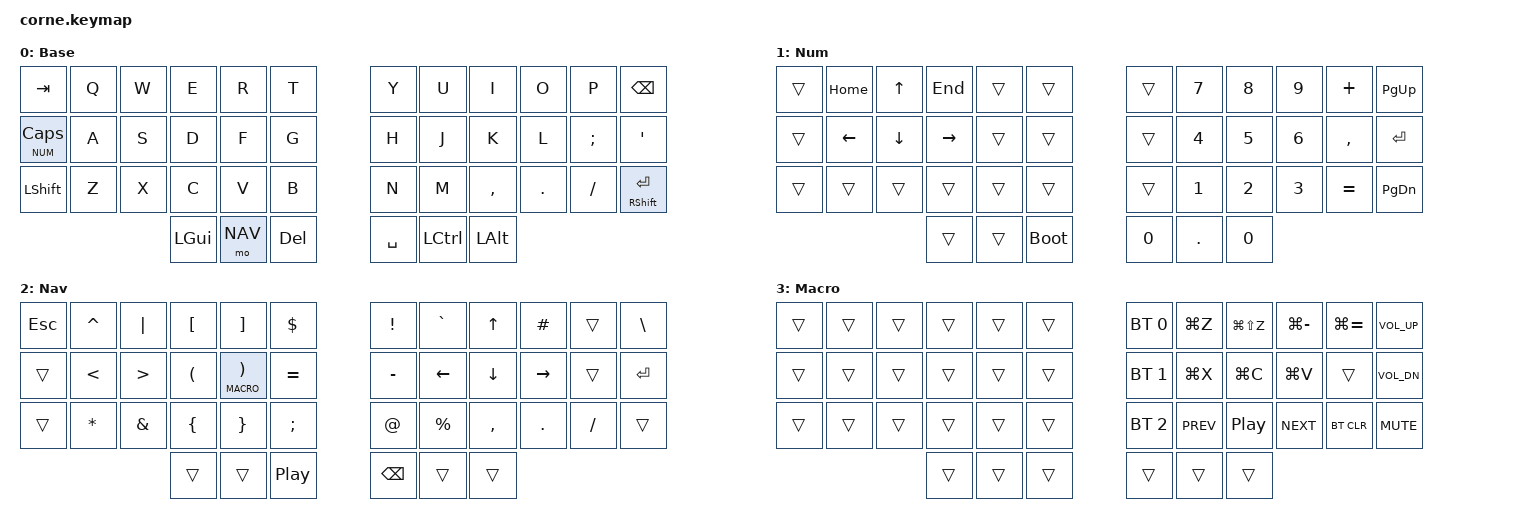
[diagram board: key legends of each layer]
/*
 * tgavent Corne keymap: ported from the RGBKB Sol 3 QMK keymap
 * (qmk_firmware/keyboards/rgbkb/sol3/keymaps/tgavent). Mac-only for now.
 *
 * Layers:
 *   BASE   QWERTY
 *   NUM    = Sol 3 "FN" layer:     hold the far-left home-row key (tap = Caps Lock)
 *   NAV    = Sol 3 "ADJUST" layer: hold the left middle thumb (symbols + arrows)
 *   MACRO  = Cmd shortcuts, media, Bluetooth:
 *            hold the left middle thumb (NAV), then hold the F position (")" on NAV)
 *
 * Key positions (for hold-trigger-key-positions):
 *    0  1  2  3  4  5     6  7  8  9 10 11
 *   12 13 14 15 16 17    18 19 20 21 22 23
 *   24 25 26 27 28 29    30 31 32 33 34 35
 *            36 37 38    39 40 41
 */

#include <behaviors.dtsi>
#include <dt-bindings/zmk/keys.h>
#include <dt-bindings/zmk/bt.h>

#define BASE  0
#define NUM   1
#define NAV   2
#define MACRO 3

// Mac shortcuts (the Sol 3 sent these as OS-aware macros; the Corne is Mac-only)
#define CUT     &kp LG(X)
#define COPY    &kp LG(C)
#define PASTE   &kp LG(V)
#define UNDO    &kp LG(Z)
#define REDO    &kp LG(LS(Z))
#define ZOOM_IN &kp LG(EQUAL)
#define ZOOM_OUT &kp LG(MINUS)

/ {
    behaviors {
        // On NAV, the F position: tap = ")", hold = MACRO layer.
        // Tuned so typing symbols never triggers the layer by accident:
        //  - require-prior-idle-ms: if a key was pressed in the last 150ms
        //    (e.g. typing "()" quickly), it's always ")".
        //  - balanced + hold-trigger-key-positions: the layer only activates
        //    when the next key is on the right hand (where everything on MACRO is)
        //    or a thumb.
        rpar_macro: rpar_macro_layer_tap {
            compatible = "zmk,behavior-hold-tap";
            display-name = ") / Macro layer";
            #binding-cells = <2>;
            flavor = "balanced";
            tapping-term-ms = <200>;
            quick-tap-ms = <175>;
            require-prior-idle-ms = <150>;
            hold-trigger-key-positions = <6 7 8 9 10 11 18 19 20 21 22 23 30 31 32 33 34 35 36 37 38 39 40 41>;
            bindings = <&mo>, <&kp>;
        };
    };

    keymap {
        compatible = "zmk,keymap";

        base_layer {
            display-name = "Base";
// ┌──────┬─────┬─────┬─────┬─────┬─────┐   ┌─────┬─────┬─────┬─────┬─────┬──────┐
// │ Tab  │  Q  │  W  │  E  │  R  │  T  │   │  Y  │  U  │  I  │  O  │  P  │ BkSp │
// │NUM/Cp│  A  │  S  │  D  │  F  │  G  │   │  H  │  J  │  K  │  L  │  ;  │  '   │
// │Shift │  Z  │  X  │  C  │  V  │  B  │   │  N  │  M  │  ,  │  .  │  /  │Ent/Sh│
// └──────┴─────┴─────┼─────┼─────┼─────┤   ├─────┼─────┼─────┼─────┴─────┴──────┘
//                    │ Cmd │ NAV │ Del │   │Space│Ctrl │ Opt │
//                    └─────┴─────┴─────┘   └─────┴─────┴─────┘
            bindings = <
   &kp TAB       &kp Q &kp W &kp E &kp R &kp T     &kp Y &kp U &kp I     &kp O   &kp P    &kp BSPC
   &lt NUM CAPS  &kp A &kp S &kp D &kp F &kp G     &kp H &kp J &kp K     &kp L   &kp SEMI &kp SQT
   &kp LSHFT     &kp Z &kp X &kp C &kp V &kp B     &kp N &kp M &kp COMMA &kp DOT &kp FSLH &mt RSHFT RET
                         &kp LGUI  &mo NAV  &kp DEL           &kp SPACE &kp LCTRL &kp LALT
            >;
        };

        num_layer {
            display-name = "Num";
// Sol 3 FN layer: nav on the left, numpad on the right.
// ┌──────┬─────┬─────┬─────┬─────┬─────┐   ┌─────┬─────┬─────┬─────┬─────┬──────┐
// │      │Home │ Up  │ End │     │     │   │     │  7  │  8  │  9  │  +  │ PgUp │
// │(held)│Left │Down │Right│     │     │   │     │  4  │  5  │  6  │  ,  │Enter │
// │      │     │     │     │     │     │   │     │  1  │  2  │  3  │  =  │ PgDn │
// └──────┴─────┴─────┼─────┼─────┼─────┤   ├─────┼─────┼─────┼─────┴─────┴──────┘
//                    │     │     │BOOT │   │  0  │  .  │  0  │
//                    └─────┴─────┴─────┘   └─────┴─────┴─────┘
            bindings = <
   &trans  &kp HOME  &kp UP    &kp END    &trans  &trans     &trans &kp N7 &kp N8 &kp N9 &kp PLUS  &kp PG_UP
   &trans  &kp LEFT  &kp DOWN  &kp RIGHT  &trans  &trans     &trans &kp N4 &kp N5 &kp N6 &kp COMMA &kp RET
   &trans  &trans    &trans    &trans     &trans  &trans     &trans &kp N1 &kp N2 &kp N3 &kp EQUAL &kp PG_DN
                                &trans  &trans  &bootloader             &kp N0 &kp DOT &kp N0
            >;
        };

        nav_layer {
            display-name = "Nav";
// Sol 3 ADJUST layer: programmer symbols on the left, arrows on the right.
// ")" (F position): tap = ")", hold = MACRO layer.
// ┌──────┬─────┬─────┬─────┬─────┬─────┐   ┌─────┬─────┬─────┬─────┬─────┬──────┐
// │ Esc  │  ^  │  |  │  [  │  ]  │  $  │   │  !  │  `  │ Up  │  #  │     │  \   │
// │      │  <  │  >  │  (  │)/MAC│  =  │   │  -  │Left │Down │Right│     │Enter │
// │      │  *  │  &  │  {  │  }  │  ;  │   │  @  │  %  │  ,  │  .  │  /  │      │
// └──────┴─────┴─────┼─────┼─────┼─────┤   ├─────┼─────┼─────┼─────┴─────┴──────┘
//                    │     │(held│Play │   │BkSp │Ctrl │ Opt │
//                    └─────┴─────┴─────┘   └─────┴─────┴─────┘
            bindings = <
   &kp ESC &kp CARET &kp PIPE &kp LBKT &kp RBKT              &kp DLLR     &kp EXCL  &kp GRAVE &kp UP    &kp HASH  &trans   &kp BSLH
   &trans  &kp LT    &kp GT   &kp LPAR &rpar_macro MACRO RPAR &kp EQUAL   &kp MINUS &kp LEFT  &kp DOWN  &kp RIGHT &trans   &kp RET
   &trans  &kp STAR  &kp AMPS &kp LBRC &kp RBRC              &kp SEMI     &kp AT    &kp PRCNT &kp COMMA &kp DOT   &kp FSLH &trans
                                &trans  &trans  &kp C_PP     &kp BSPC &trans &trans
            >;
        };

        macro_layer {
            display-name = "Macro";
// Hold NAV, then hold ")" (F position). Everything is on the right hand.
// ┌──────┬─────┬─────┬─────┬─────┬─────┐   ┌─────┬─────┬─────┬─────┬─────┬──────┐
// │      │     │     │     │     │     │   │ BT1 │Undo │Redo │Zoom-│Zoom+│ Vol+ │
// │      │     │     │     │(held│     │   │ BT2 │ Cut │Copy │Paste│     │ Vol- │
// │      │     │     │     │     │     │   │ BT3 │Prev │Play │Next │BTclr│ Mute │
// └──────┴─────┴─────┼─────┼─────┼─────┤   ├─────┼─────┼─────┼─────┴─────┴──────┘
//                    │     │(NAV)│     │   │     │     │     │
//                    └─────┴─────┴─────┘   └─────┴─────┴─────┘
// BT1 = Mac, BT2 = Windows. BTclr erases the pairing of the CURRENT slot.
            bindings = <
   &trans &trans &trans &trans &trans &trans     &bt BT_SEL 0 UNDO       REDO     ZOOM_OUT   ZOOM_IN     &kp C_VOL_UP
   &trans &trans &trans &trans &trans &trans     &bt BT_SEL 1 CUT        COPY     PASTE      &trans      &kp C_VOL_DN
   &trans &trans &trans &trans &trans &trans     &bt BT_SEL 2 &kp C_PREV &kp C_PP &kp C_NEXT &bt BT_CLR  &kp C_MUTE
                        &trans &trans &trans     &trans &trans &trans
            >;
        };
    };
};
